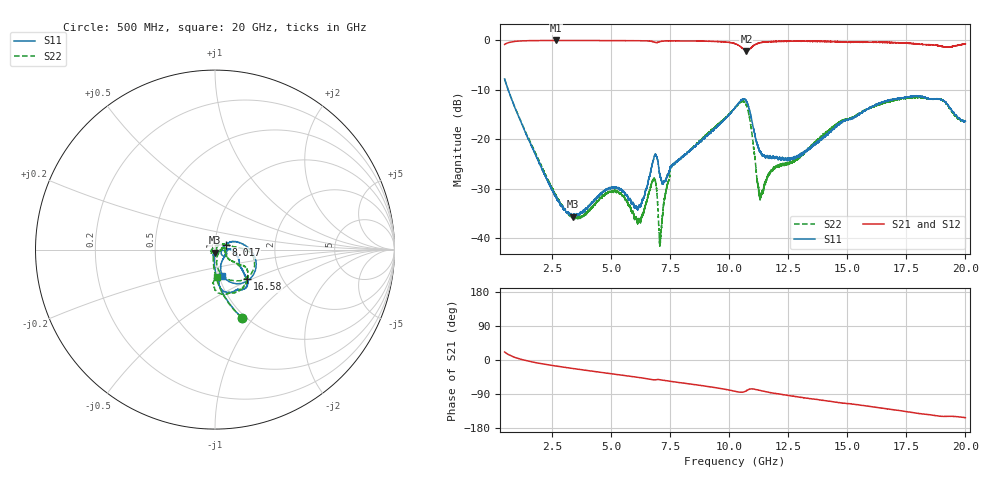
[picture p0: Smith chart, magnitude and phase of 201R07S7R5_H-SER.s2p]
!{201R07S7R5}
!Johanson Technology Inc.
!www.johansontechnology.com
!Test Board Conditions:
!Substrate Type  RO4350B
!Substrate Thickness  10 mil
!Substrate Dk  3.66
!TL Type: GCPW
!TL Trace Width  21 mil
!TL Gap  20 mil
!Electrode orientation  Horizontal
!DUT TOPOLOGY	SERIES
!Mounting Pad LxW  16x21 mil
!Agilent Technologies,N5230A,MY45001966,A.07.50.67
!Agilent N5230A: A.07.50.67
! Created Mon Mar  9 15:17:36 2020
# mhz S ma R 50
! 2 Port Network Data from SP1.SP block
! freq  magS11  angS11  magS21  angS21  magS12  angS12  magS22  angS22
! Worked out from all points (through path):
!   19501 points, 500 MHz to 20 GHz, reference 50 ohm
!   highest |S21| = -0.02 dB at 2.656 GHz (marker M1); lowest = -2.1 dB at 10.73 GHz (marker M2)
!   group delay of S21, straight-line fit = 22.6 ps
!   lowest |S11| = -35.7 dB at 3.379 GHz (marker M3), VSWR 1.03, Z = 49.7 - j1.62 ohm
!   |S11| at or under -10 dB: 648.8 MHz to end of sweep
!   |S22| runs from -41.6 to -7.8 dB; largest |S21 - S12| = 0.016
!   S11 on the Smith chart (normalised r, x): 500 MHz: 0.96, -0.87; 8.017 GHz: 1.13, +0.06; 16.58 GHz: 1.34, -0.47; 20 GHz: 1.04, -0.31
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500  0.407 -68.4  0.9104 21.2  0.9104 21.2  0.408 -68.5
1332  0.1246 -88.9  0.9904 -0.3  0.9897 -0.4  0.1272 -90.5
2656  0.02656 -95.4  0.998 -15.7  0.9972 -15.7  0.02777 -107.8
3379  0.01646 -98.6  0.9964 -22.3  0.9961 -22.3  0.01601 -114.6
3750  0.01801 -99.7  0.9955 -25.5  0.9964 -25.5  0.01658 -121.3
5107  0.03258 -106.5  0.993 -37.1  0.9941 -37.0  0.02943 -144.1
6189  0.02144 -49.6  0.9916 -46.2  0.9921 -46.2  0.01534 133.9
6808  0.06351 -11.7  0.9646 -52.2  0.9643 -52.2  0.03958 24.1
6901  0.06945 -24.6  0.9515 -52.1  0.9508 -52.0  0.03573 -4.1
7000  0.05692 -38.1  0.96 -51.5  0.9593 -51.5  0.01742 -24.0
7108  0.04092 -31.5  0.9761 -52.2  0.9762 -52.2  0.01065 37.4
7546  0.05305 22.5  0.9882 -56.5  0.9887 -56.5  0.05223 34.6
8017  0.06547 24.3  0.9873 -60.5  0.9873 -60.5  0.0662 26.9
10250  0.2089 -4.5  0.9265 -82.5  0.9264 -82.4  0.2081 -7.8
10733  0.2428 -49.3  0.7836 -81.0  0.7878 -80.9  0.221 -51.9
11343  0.0724 -56.3  0.9495 -81.1  0.9474 -80.9  0.02627 -25.7
11834  0.06567 -31.9  0.972 -87.0  0.9742 -86.9  0.04811 12.9
13500  0.0847 2.7  0.9828 -102.6  0.9787 -102.7  0.08666 -33.5
16584  0.2425 -42.4  0.9517 -128.2  0.9467 -127.9  0.2326 -38.2
16750  0.2473 -42.9  0.9558 -129.3  0.9447 -129.6  0.2413 -40.5
18928  0.2544 -69.3  0.8775 -148.3  0.8815 -147.9  0.2533 -79.6
20000  0.1527 -74.4  0.9209 -152.3  0.9226 -152.2  0.1543 -85.5
